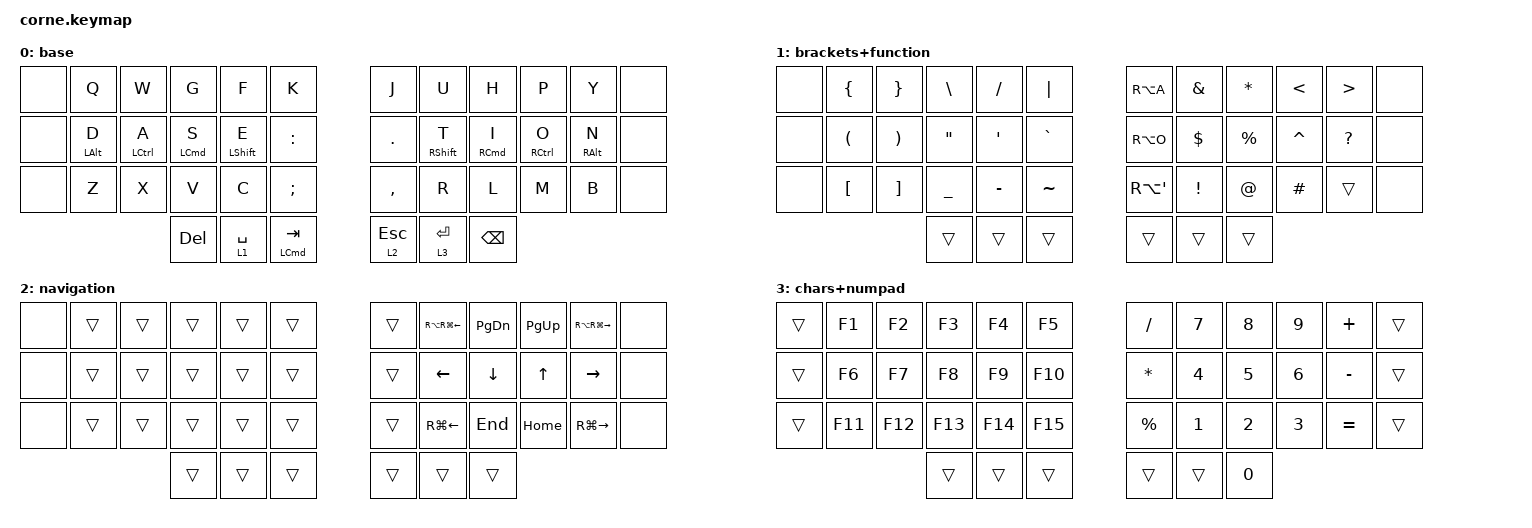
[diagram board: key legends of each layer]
/*
 * Copyright (c) 2020 The ZMK Contributors
 *
 * SPDX-License-Identifier: MIT
 */

#include <behaviors.dtsi>
#include <dt-bindings/zmk/bt.h>
#include <dt-bindings/zmk/keys.h>

/ {
    behaviors {
        mo_kp: mo_kp {
            compatible = "zmk,behavior-hold-tap";
            label = "MO_KP";
            bindings = <&mo>, <&kp>;

            #binding-cells = <2>;
            flavor = "balanced";
            tapping-term-ms = <250>;
        };
    };

    combos {
        compatible = "zmk,combos";

        bt_clr {
            bindings = <&bt BT_CLR>;
            key-positions = <29 30>;
        };

        bt_nxt {
            bindings = <&bt BT_NXT>;
            key-positions = <17 18>;
        };

        bt_prv {
            bindings = <&bt BT_PRV>;
            key-positions = <5 6>;
        };
    };

    keymap {
        compatible = "zmk,keymap";

        base {
            bindings = <
&none  &kp Q           &kp W        &kp G               &kp F             &kp K                   &kp J            &kp U              &kp H                &kp P                &kp Y            &none
&none  &mt LEFT_ALT D  &mt LCTRL A  &mt LEFT_COMMAND S  &mt LEFT_SHIFT E  &kp COLON               &kp PERIOD       &mt RIGHT_SHIFT T  &mt RIGHT_COMMAND I  &mt RIGHT_CONTROL O  &mt RIGHT_ALT N  &none
&none  &kp Z           &kp X        &kp V               &kp C             &kp SEMICOLON           &kp COMMA        &kp R              &kp L                &kp M                &kp B            &none
                                    &kp DELETE          &mo_kp 1 SPACE    &mt LEFT_COMMAND TAB    &mo_kp 2 ESCAPE  &mo_kp 3 ENTER     &kp BACKSPACE
            >;
        };

        brackets+function {
            bindings = <
&none  &kp LEFT_BRACE        &kp RIGHT_BRACE        &kp BACKSLASH      &kp SLASH  &kp PIPE     &kp RA(A)    &kp AMPERSAND    &kp ASTERISK  &kp LESS_THAN  &kp GREATER_THAN  &none
&none  &kp LEFT_PARENTHESIS  &kp RIGHT_PARENTHESIS  &kp DOUBLE_QUOTES  &kp SQT    &kp GRAVE    &kp RA(O)    &kp DOLLAR       &kp PERCENT   &kp CARET      &kp QUESTION      &none
&none  &kp LEFT_BRACKET      &kp RIGHT_BRACKET      &kp UNDERSCORE     &kp MINUS  &kp TILDE    &kp RA(SQT)  &kp EXCLAMATION  &kp AT_SIGN   &kp HASH       &trans            &none
                                                    &trans             &trans     &trans       &trans       &trans           &trans
            >;
        };

        navigation {
            bindings = <
&none  &trans  &trans  &trans  &trans  &trans    &trans  &kp RA(RG(LEFT))  &kp PG_DN  &kp PG_UP  &kp RA(RG(RIGHT))  &none
&none  &trans  &trans  &trans  &trans  &trans    &trans  &kp LEFT          &kp DOWN   &kp UP     &kp RIGHT          &none
&none  &trans  &trans  &trans  &trans  &trans    &trans  &kp RG(LEFT)      &kp END    &kp HOME   &kp RG(RIGHT)      &none
                       &trans  &trans  &trans    &trans  &trans            &trans
            >;
        };

        chars+numpad {
            bindings = <
&trans  &kp F1   &kp F2   &kp F3   &kp F4   &kp F5     &kp SLASH     &kp N7  &kp N8        &kp N9  &kp PLUS   &trans
&trans  &kp F6   &kp F7   &kp F8   &kp F9   &kp F10    &kp ASTERISK  &kp N4  &kp N5        &kp N6  &kp MINUS  &trans
&trans  &kp F11  &kp F12  &kp F13  &kp F14  &kp F15    &kp PERCENT   &kp N1  &kp N2        &kp N3  &kp EQUAL  &trans
                          &trans   &trans   &trans     &trans        &trans  &kp NUMBER_0
            >;
        };
    };
};
